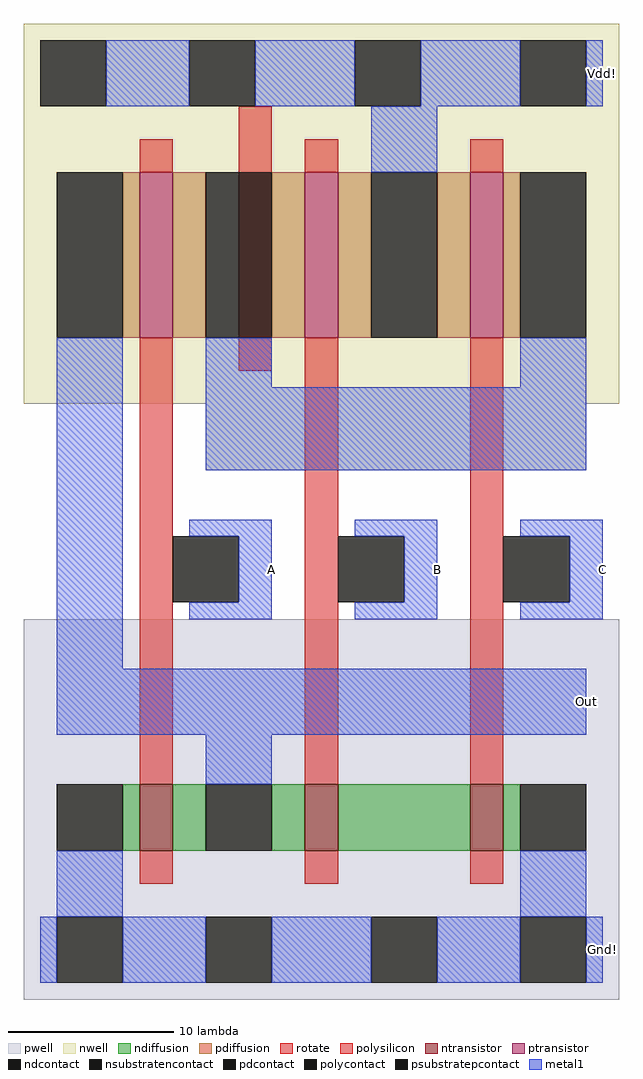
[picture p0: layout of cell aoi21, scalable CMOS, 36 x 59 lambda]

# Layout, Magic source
magic
tech scmos
<< rotate >>
rect 7 1 9 17
<< pwell >>
rect -6 -37 30 -14
<< nwell >>
rect -6 -1 30 22
rect 5 -5 28 -1
<< polysilicon >>
rect 1 13 3 15
rect 11 13 13 15
rect 21 13 23 15
rect 1 -24 3 3
rect 11 -24 13 3
rect 21 -24 23 3
rect 1 -30 3 -28
rect 11 -30 13 -28
rect 21 -30 23 -28
<< ndiffusion >>
rect 0 -28 1 -24
rect 3 -28 5 -24
rect 9 -28 11 -24
rect 13 -28 21 -24
rect 23 -28 24 -24
<< pdiffusion >>
rect 0 3 1 13
rect 3 3 5 13
rect 9 3 11 13
rect 13 3 15 13
rect 19 3 21 13
rect 23 3 24 13
<< metal1 >>
rect -1 17 4 21
rect 8 17 14 21
rect 18 17 24 21
rect 28 17 29 21
rect 15 13 19 17
rect -4 -17 0 3
rect 5 0 9 3
rect 24 0 28 3
rect 5 -5 28 0
rect 4 -9 9 -8
rect 14 -9 19 -8
rect 24 -9 29 -8
rect 7 -13 9 -9
rect 17 -13 19 -9
rect 27 -13 29 -9
rect 4 -14 9 -13
rect 14 -14 19 -13
rect 24 -14 29 -13
rect -4 -21 28 -17
rect 5 -24 9 -21
rect -4 -32 0 -28
rect 24 -32 28 -28
rect -5 -36 -4 -32
rect 0 -36 5 -32
rect 9 -36 15 -32
rect 19 -36 24 -32
rect 28 -36 29 -32
<< ntransistor >>
rect 1 -28 3 -24
rect 11 -28 13 -24
rect 21 -28 23 -24
<< ptransistor >>
rect 1 3 3 13
rect 11 3 13 13
rect 21 3 23 13
<< polycontact >>
rect 3 -13 7 -9
rect 13 -13 17 -9
rect 23 -13 27 -9
<< ndcontact >>
rect -4 -28 0 -24
rect 5 -28 9 -24
rect 24 -28 28 -24
<< pdcontact >>
rect -4 3 0 13
rect 5 3 9 13
rect 15 3 19 13
rect 24 3 28 13
<< psubstratepcontact >>
rect -4 -36 0 -32
rect 5 -36 9 -32
rect 15 -36 19 -32
rect 24 -36 28 -32
<< nsubstratencontact >>
rect -5 17 -1 21
rect 4 17 8 21
rect 14 17 18 21
rect 24 17 28 21
<< labels >>
rlabel metal1 29 -14 29 -8 7 C
rlabel metal1 19 -14 19 -8 1 B
rlabel metal1 9 -14 9 -8 1 A
rlabel metal1 28 -21 28 -17 7 Out
rlabel metal1 29 19 29 19 6 Vdd!
rlabel metal1 29 -34 29 -34 8 Gnd!
<< end >>
